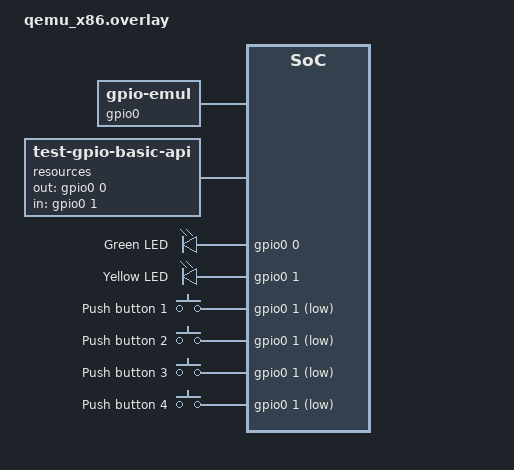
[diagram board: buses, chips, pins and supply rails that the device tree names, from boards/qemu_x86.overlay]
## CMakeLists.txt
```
cmake_minimum_required(VERSION 3.20.0)
find_package(Zephyr REQUIRED HINTS $ENV{ZEPHYR_BASE})

project(
    SensorBME280
    VERSION 0.1
    DESCRIPTION "CPP Sensor BME280 reading application."
    LANGUAGES C CXX
)

target_sources(
    app
    PRIVATE
    src/main.cpp
)
```

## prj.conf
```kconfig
# C++ support
CONFIG_CPP=y
CONFIG_REQUIRES_FULL_LIBCPP=y
CONFIG_STD_CPP17=y
# use zpp_lib
CONFIG_USE_ZPP_LIB=y

CONFIG_LOG=y
CONFIG_APP_LOG_LEVEL_DBG=y

CONFIG_SEGGER_SYSTEMVIEW_BOOT_ENABLE=y
CONFIG_SEGGER_SYSVIEW_POST_MORTEM_MODE=y


# Enable floating point formatting when printing
CONFIG_PICOLIBC=y
CONFIG_PICOLIBC_IO_FLOAT=y

# Sensor
CONFIG_I2C=y
CONFIG_SENSOR=y
CONFIG_BME280=y
```

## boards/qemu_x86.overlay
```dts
#include <zephyr/dt-bindings/gpio/gpio.h>

/ {  
    gpio0: gpio_emul_0 {
        status = "okay";
        compatible = "zephyr,gpio-emul";
        rising-edge;
        falling-edge;
        high-level;
        low-level;
        gpio-controller;
        ngpios=<2>;
        #gpio-cells = <2>;
    };

    resources {
        compatible = "test-gpio-basic-api";
        out-gpios = <&gpio0 0 0>; /* Pin 0 */
        in-gpios = <&gpio0 1 0>; /* Pin 1 */
    };

    leds {
        compatible = "gpio-leds";
        led0: led_0 {
            gpios = <&gpio0 0 GPIO_ACTIVE_HIGH>;
            label = "Green LED";
        };
        led1: led_1 {
            gpios = <&gpio0 1 GPIO_ACTIVE_HIGH>;
            label = "Yellow LED";
        };
    };

    buttons {
        compatible = "gpio-keys";

        button0: button_0 {
            gpios = <&gpio0 1 (GPIO_PULL_UP | GPIO_ACTIVE_LOW)>;
            label = "Push button 1";
        };

        button1: button_1 {
            gpios = <&gpio0 1 (GPIO_PULL_UP | GPIO_ACTIVE_LOW)>;
            label = "Push button 2";
        };

        button2: button_2 {
            gpios = <&gpio0 1 (GPIO_PULL_UP | GPIO_ACTIVE_LOW)>;
            label = "Push button 3";
        };

        button3: button_3 {
            gpios = <&gpio0 1 (GPIO_PULL_UP | GPIO_ACTIVE_LOW)>;
            label = "Push button 4";
        };
    };

    aliases {
        led0 = &led0;
        led1 = &led1;
        sw0 = &button0;
        sw1 = &button1;
        sw2 = &button2;
        sw3 = &button3;
    };

    chosen {
        zephyr,display = &dummy_dc;
    };

    dummy_dc: dummy_dc {
        compatible = "zephyr,dummy-dc";
        height = <240>;
        width = <320>;
    };
};
```

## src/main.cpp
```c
/**
******************************************************************************
* @file        : main.cpp
* @brief       : Fetch data from a BME280 sensor
* @author      : Martin Tavernier <martin.tavernier@hevs.ch>
* @date        : 05.03.2026
******************************************************************************
* @copyright   : Copyright (c) 2026
*                HEVS
* @attention   : SPDX-License-Identifier: Apache-2.0
******************************************************************************
* @details
* Print the value fetched from the bme280 sensor to the console
******************************************************************************
*/


// stl
#include <chrono>

// zpp-lib
#include "zpp_include/digital_out.hpp"
#include "zpp_include/this_thread.hpp"
#include "zpp_include/thread.hpp"

// zephyr
#include <zephyr/drivers/sensor.h>
#include <zephyr/logging/log.h>

LOG_MODULE_REGISTER(sensor_bm280, CONFIG_APP_LOG_LEVEL);

static const struct device* bme280_device = DEVICE_DT_GET(DT_INST(0, bosch_bme280));

void read_sensor() {

    using std::chrono_literals::operator""ms;
    static std::chrono::milliseconds readInterval = 1000ms;

    if (!device_is_ready(bme280_device)) {
        LOG_ERR("Device %s not found", bme280_device->name);
        return;
    }

    struct sensor_value temperature_sv, humidity_sv, pressure_sv;

    while (true) {
        sensor_sample_fetch(bme280_device);

        sensor_channel_get(
            bme280_device, SENSOR_CHAN_AMBIENT_TEMP, &temperature_sv);
        sensor_channel_get(bme280_device, SENSOR_CHAN_HUMIDITY, &humidity_sv);
        sensor_channel_get(bme280_device, SENSOR_CHAN_PRESS, &pressure_sv);

        LOG_INF("T=%.2f [deg C] P=%.2f [kPa] H=%.1f [%%]",
                sensor_value_to_double(&temperature_sv),
                sensor_value_to_double(&pressure_sv),
                sensor_value_to_double(&humidity_sv));

        zpp_lib::ThisThread::sleep_for(readInterval);
    }
}

int main(void) {
    LOG_DBG("Running on board %s", CONFIG_BOARD_TARGET);

    zpp_lib::Thread thread(zpp_lib::PreemptableThreadPriority::PriorityNormal,
                           "Sensor");
    auto res = thread.start(read_sensor);
    if (!res) {
        return -1;
    }

    res = thread.join();
    if (!res) {
        LOG_ERR("Could not join thread: %d", static_cast<int>(res.error()));
        return -1;
    }

    return 0;
}
```
